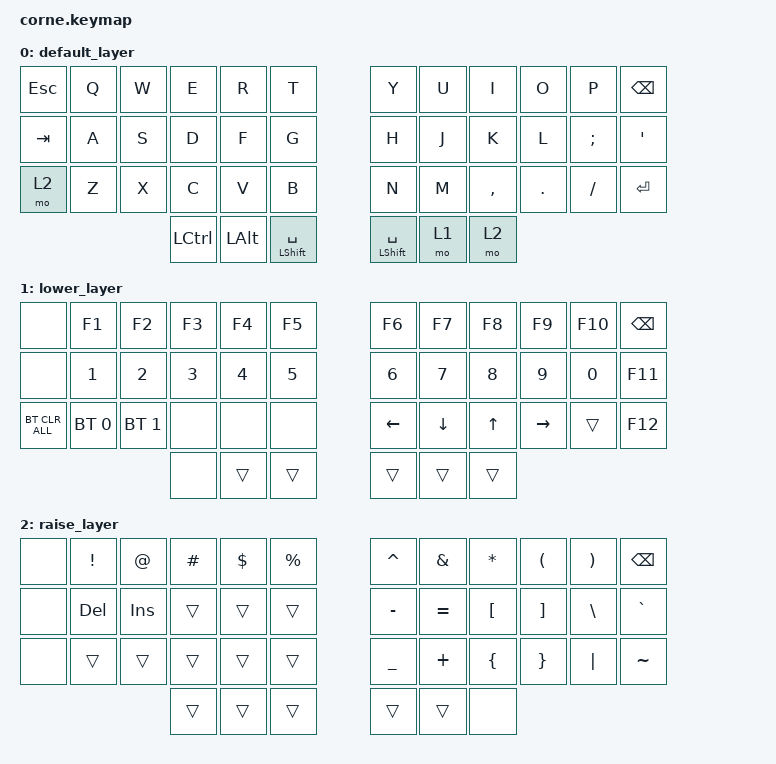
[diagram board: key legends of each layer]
/*
 * Copyright (c) 2020 The ZMK Contributors
 *
 * SPDX-License-Identifier: MIT
 */

#include <behaviors.dtsi>
#include <dt-bindings/zmk/bt.h>
#include <dt-bindings/zmk/keys.h>

/ {
    combos {
        compatible = "zmk,combos";

        winshor {
            bindings = <&kp LEFT_WIN>;
            key-positions = <40 41>;
        };
    };

    behaviors {
        Space_shift: Space_shift {
            compatible = "zmk,behavior-hold-tap";
            label = "SPACE_SHIFT";
            bindings = <&kp>, <&kp>;

            #binding-cells = <2>;
            tapping-term-ms = <250>;
            flavor = "balanced";
        };
    };

    keymap {
        compatible = "zmk,keymap";

        default_layer {
            // -----------------------------------------------------------------------------------------
            // |  TAB |  Q  |  W  |  E  |  R  |  T  |   |  Y  |  U   |  I  |  O  |  P  | BSPC |
            // | CTRL |  A  |  S  |  D  |  F  |  G  |   |  H  |  J   |  K  |  L  |  ;  |  '   |
            // | SHFT |  Z  |  X  |  C  |  V  |  B  |   |  N  |  M   |  ,  |  .  |  /  | ESC  |
            //                    | GUI | LWR | SPC |   | ENT | RSE  | ALT |

            bindings = <
&kp ESCAPE  &kp Q  &kp W  &kp E      &kp R         &kp T                            &kp Y                     &kp U  &kp I      &kp O    &kp P     &kp BSPC
&kp TAB     &kp A  &kp S  &kp D      &kp F         &kp G                            &kp H                     &kp J  &kp K      &kp L    &kp SEMI  &kp SQT
&mo 2       &kp Z  &kp X  &kp C      &kp V         &kp B                            &kp N                     &kp M  &kp COMMA  &kp DOT  &kp FSLH  &kp RET
                          &kp LCTRL  &kp LEFT_ALT  &Space_shift LEFT_SHIFT SPACE    &Space_shift LSHFT SPACE  &mo 1  &mo 2
            >;
        };

        lower_layer {
            // -----------------------------------------------------------------------------------------
            // |  TAB |  1  |  2  |  3  |  4  |  5  |   |  6  |  7  |  8  |  9  |  0  | BSPC |
            // | BTCLR| BT1 | BT2 | BT3 | BT4 | BT5 |   | LFT | DWN |  UP | RGT |     |      |
            // | SHFT |     |     |     |     |     |   |     |     |     |     |     |      |
            //                    | GUI |     | SPC |   | ENT |     | ALT |

            bindings = <
&none           &kp F1        &kp F2        &kp F3        &kp F4        &kp F5    &kp F6          &kp F7          &kp F8        &kp F9           &kp F10  &kp BSPC
&none           &kp NUMBER_1  &kp NUMBER_2  &kp NUMBER_3  &kp NUMBER_4  &kp N5    &kp NUMBER_6    &kp N7          &kp N8        &kp N9           &kp N0   &kp F11
&bt BT_CLR_ALL  &bt BT_SEL 0  &bt BT_SEL 1  &none         &none         &none     &kp LEFT_ARROW  &kp DOWN_ARROW  &kp UP_ARROW  &kp RIGHT_ARROW  &trans   &kp F12
                                            &none         &trans        &trans    &trans          &trans          &trans
            >;
        };

        raise_layer {
            // -----------------------------------------------------------------------------------------
            // |  TAB |  !  |  @  |  #  |  $  |  %  |   |  ^  |  &  |  *  |  (  |  )  | BSPC |
            // | CTRL |     |     |     |     |     |   |  -  |  =  |  [  |  ]  |  \  |  `   |
            // | SHFT |     |     |     |     |     |   |  _  |  +  |  {  |  }  | "|" |  ~   |
            //                    | GUI |     | SPC |   | ENT |     | ALT |

            bindings = <
&none  &kp EXCL  &kp AT   &kp HASH  &kp DLLR  &kp PRCNT    &kp CARET  &kp AMPS   &kp ASTRK  &kp LPAR  &kp RPAR  &kp BSPC
&none  &kp DEL   &kp INS  &trans    &trans    &trans       &kp MINUS  &kp EQUAL  &kp LBKT   &kp RBKT  &kp BSLH  &kp GRAVE
&none  &trans    &trans   &trans    &trans    &trans       &kp UNDER  &kp PLUS   &kp LBRC   &kp RBRC  &kp PIPE  &kp TILDE
                          &trans    &trans    &trans       &trans     &trans     &none
            >;
        };
    };
};
